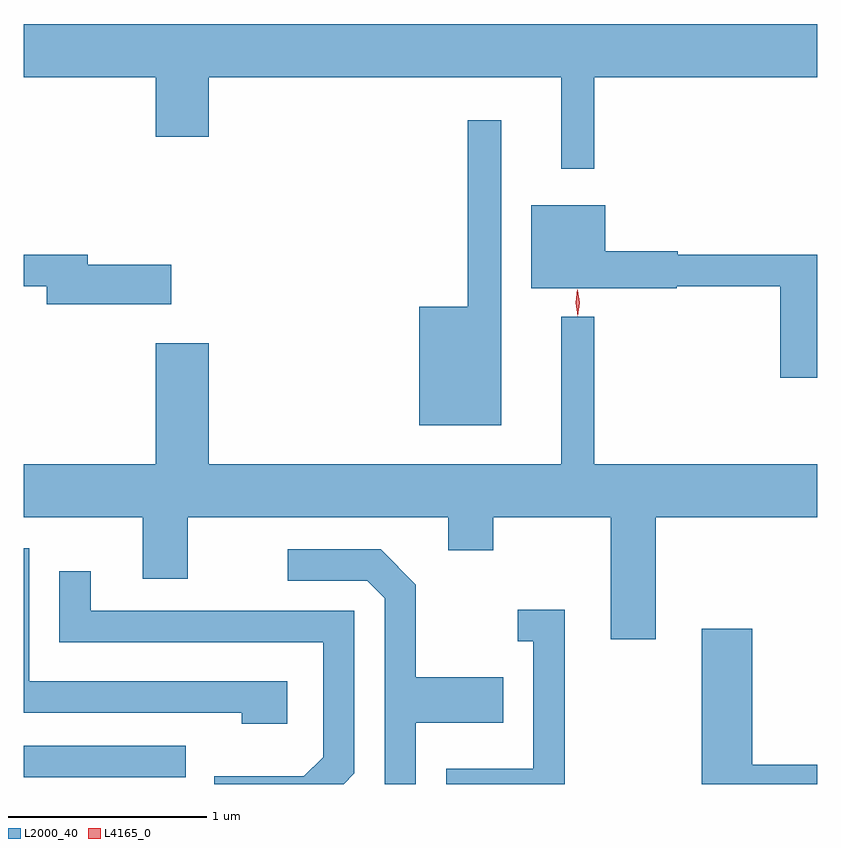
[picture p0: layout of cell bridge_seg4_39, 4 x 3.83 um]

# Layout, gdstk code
import gdstk
lib = gdstk.Library(unit=1e-6, precision=1e-09)
def R(c, l, rs):  # rectangles x0, y0, x1, y1
    for r in rs: c.add(gdstk.rectangle(r[:2], r[2:], *l))
def P(c, l, *ps):  # polygons
    for p in ps: c.add(gdstk.Polygon(p, *l))
L2000_40 = (2000, 40)
L4165_0 = (4165, 0)

bridge_seg4_39 = lib.new_cell('bridge_seg4_39')
R(bridge_seg4_39, L2000_40, [(1273.352,1375.566,1274.168,1375.724)])
P(bridge_seg4_39, L2000_40, [(1276.229,1379.096),(1277.352,1379.096),(1277.352,1379.364),(1273.352,1379.364),(1273.352,1379.096),(1274.016,1379.096),(1274.016,1378.796),(1274.284,1378.796),(1274.284,1379.096),(1276.061,1379.096),(1276.061,1378.633),(1276.229,1378.633)],
  [(1275.759,1378.878),(1275.591,1378.878),(1275.591,1377.939),(1275.346,1377.939),(1275.346,1377.341),(1275.759,1377.341)],
  [(1277.352,1378.199),(1276.649,1378.199),(1276.649,1378.219),(1276.284,1378.219),(1276.284,1378.449),(1275.911,1378.449),(1275.911,1378.031),(1276.645,1378.031),(1276.645,1378.041),(1277.166,1378.041),(1277.166,1377.581),(1277.352,1377.581)],
  [(1274.094,1378.149),(1273.674,1378.149),(1273.674,1378.199),(1273.352,1378.199),(1273.352,1378.041),(1273.466,1378.041),(1273.466,1377.951),(1274.094,1377.951)],
  [(1276.539,1376.876),(1277.352,1376.876),(1277.352,1377.144),(1276.229,1377.144),(1276.229,1377.888),(1276.061,1377.888),(1276.061,1377.144),(1274.284,1377.144),(1274.284,1377.754),(1274.016,1377.754),(1274.016,1377.144),(1273.352,1377.144),(1273.352,1376.876),(1273.951,1376.876),(1273.951,1376.566),(1274.179,1376.566),(1274.179,1376.876),(1275.491,1376.876),(1275.491,1376.711),(1275.719,1376.711),(1275.719,1376.876),(1276.311,1376.876),(1276.311,1376.261),(1276.539,1376.261)],
  [(1274.679,1376.049),(1273.379,1376.049),(1273.379,1376.719),(1273.352,1376.719),(1273.352,1375.891),(1274.451,1375.891),(1274.451,1375.836),(1274.679,1375.836)],
  [(1275.329,1375.841),(1275.769,1375.841),(1275.769,1376.069),(1275.329,1376.069),(1275.329,1376.537),(1275.152,1376.714),(1274.683,1376.714),(1274.683,1376.556),(1275.084,1376.556),(1275.171,1376.469),(1275.171,1375.531),(1275.329,1375.531)],
  [(1275.019,1375.584),(1275.019,1376.404),(1273.689,1376.404),(1273.689,1376.603),(1273.531,1376.603),(1273.531,1376.246),(1274.861,1376.246),(1274.861,1375.667),(1274.764,1375.569),(1274.311,1375.569),(1274.311,1375.531),(1274.966,1375.531)],
  [(1276.079,1376.409),(1275.843,1376.409),(1275.843,1376.251),(1275.921,1376.251),(1275.921,1375.609),(1275.481,1375.609),(1275.481,1375.531),(1276.079,1375.531)],
  [(1277.352,1375.629),(1277.024,1375.629),(1277.024,1376.314),(1276.771,1376.314),(1276.771,1375.531),(1277.352,1375.531)])
P(bridge_seg4_39, L4165_0, [(1276.144,1377.89),(1276.134,1377.958),(1276.142,1378.026),(1276.142,1378.026),(1276.143,1378.026),(1276.154,1377.958),(1276.146,1377.89),(1276.145,1377.89)],
  [(1276.145,1377.893),(1276.144,1377.894),(1276.135,1377.957),(1276.144,1378.021),(1276.144,1378.022),(1276.145,1378.021),(1276.154,1377.957),(1276.146,1377.894)])

lib.write_gds('bridge_seg4_39.gds')
